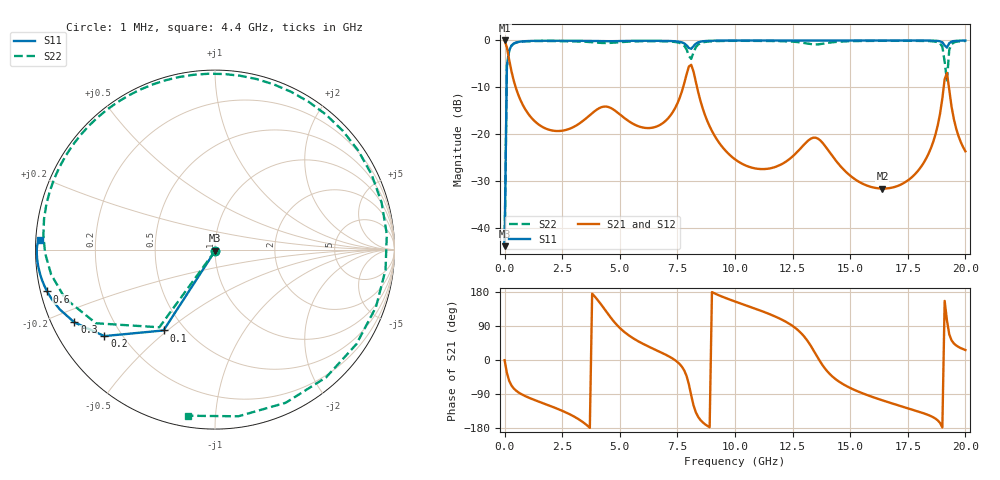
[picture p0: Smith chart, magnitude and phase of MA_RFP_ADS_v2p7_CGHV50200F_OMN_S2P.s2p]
! AWR Design Environment (7688) Thu Oct 13 15:18:23 2016
! Document = 'CGHV50200F_OMN_Spara'
! nPorts: 2, nXvals: 201
# HZ S DB R 50
!Freq DBS11 AngS11 DBS21 AngS21 DBS12 AngS12 DBS22 AngS22
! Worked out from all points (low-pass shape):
!   201 points, 1 MHz to 20 GHz, reference 50 ohm
!   highest |S21| = -0.01 dB at 1 MHz (marker M1); lowest = -31.6 dB at 16.4 GHz (marker M2)
!   |S21| within 3 dB of the highest: start of sweep to 157.1 MHz
!   lowest |S11| = -43.9 dB at 1 MHz (marker M3), VSWR 1.01, Z = 50.1 - j0.634 ohm
!   |S11| at or under -10 dB: start of sweep to 88.28 MHz
!   |S22| runs from -43.9 to -0.1 dB; largest |S21 - S12| = 0
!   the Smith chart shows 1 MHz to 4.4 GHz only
!   S11 on the Smith chart (normalised r, x): 1 MHz: 1.00, -0.01; 100 MHz: 0.38, -0.48; 200 MHz: 0.14, -0.34; 300 MHz: 0.07, -0.24; 600 MHz: 0.02, -0.12; 4.4 GHz: 0.01, +0.03
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1000000  -43.88 -81.5  -0.01 -0.4  -0.01 -0.4  -43.87 -81.8
1e8  -5.45 -122.5  -1.48 -34.1  -1.48 -34.1  -5.48 -125.6
2e8  -2.13 -142.0  -4.16 -55.1  -4.16 -55.1  -2.16 -148.2
3e8  -1.09 -152.6  -6.60 -67.3  -6.60 -67.3  -1.12 -162.0
6e8  -0.32 -166.0  -11.67 -85.4  -11.67 -85.4  -0.36 175.2
3.4e9  -0.09 178.2  -17.17 -163.9  -17.17 -163.9  -0.26 34.7
4.4e9  -0.19 176.9  -14.10 129.0  -14.10 129.0  -0.56 -99.1
5e9  -0.13 176.3  -15.76 84.7  -15.76 84.7  -0.37 172.3
6.7e9  -0.08 172.9  -18.14 22.6  -18.14 22.6  -0.18 52.9
7.7e9  -0.42 168.4  -10.81 -18.0  -10.81 -18.0  -0.75 -20.3
8.1e9  -1.80 174.8  -5.21 -93.4  -5.21 -93.4  -3.94 176.0
8.7e9  -0.14 175.1  -15.95 -169.6  -15.95 -169.6  -0.32 22.1
1.01e10  -0.02 171.1  -25.70 152.3  -25.70 152.3  -0.09 -47.4
1.26e10  -0.03 167.3  -24.28 85.4  -24.28 85.4  -0.30 -174.8
1.34e10  -0.05 166.4  -20.74 26.4  -20.74 26.4  -0.86 66.7
1.43e10  -0.02 165.4  -25.14 -47.3  -25.14 -47.3  -0.36 -82.5
1.64e10  -0.01 162.6  -31.60 -106.5  -31.60 -106.5  -0.09 164.6
1.67e10  -0.01 162.2  -31.50 -112.3  -31.50 -112.3  -0.09 153.7
1.9e10  -0.40 155.2  -12.36 -177.9  -12.36 -177.9  -1.34 47.2
1.92e10  -1.53 162.8  -6.92 104.2  -6.92 104.2  -8.53 -162.9
1.94e10  -0.25 163.2  -14.15 51.9  -14.15 51.9  -0.80 107.5
2e10  -0.03 159.9  -23.64 26.3  -23.64 26.3  -0.13 69.8
